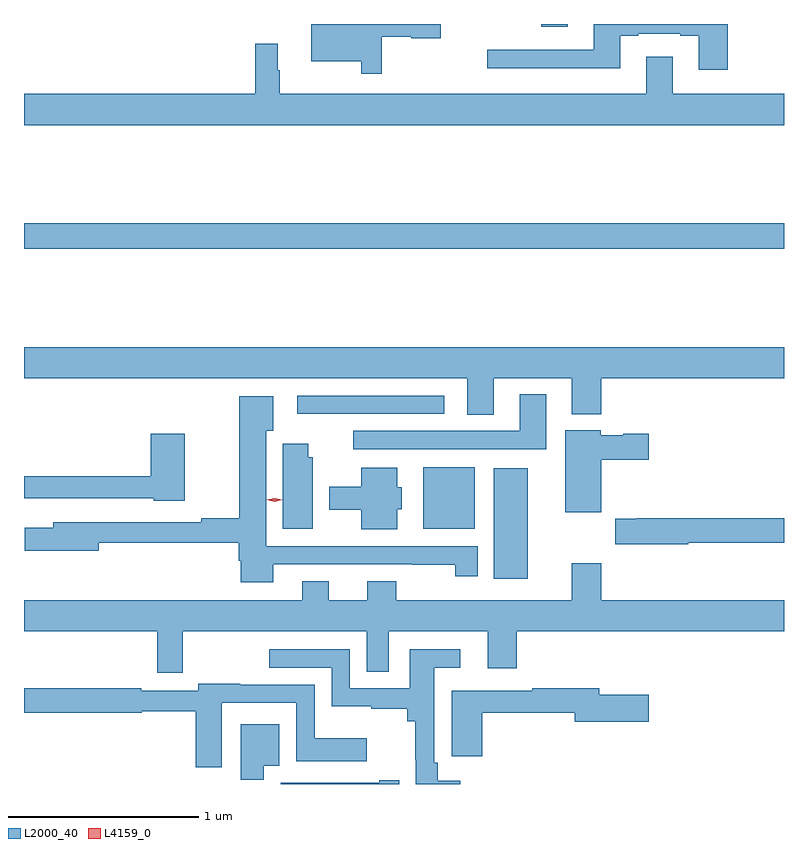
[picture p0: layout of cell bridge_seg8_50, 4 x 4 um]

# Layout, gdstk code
import gdstk
lib = gdstk.Library(unit=1e-6, precision=1e-09)
def R(c, l, rs):  # rectangles x0, y0, x1, y1
    for r in rs: c.add(gdstk.rectangle(r[:2], r[2:], *l))
def P(c, l, *ps):  # polygons
    for p in ps: c.add(gdstk.Polygon(p, *l))
L2000_40 = (2000, 40)
L4159_0 = (4159, 0)

bridge_seg8_50 = lib.new_cell('bridge_seg8_50')
R(bridge_seg8_50, L2000_40, [(1030.94,1114.112,1031.119,1114.693), (1030.568,1114.376,1030.84,1114.699), (1029.906,1114.98,1030.678,1115.076), (1028.467,1115.848,1032.467,1115.984), (1031.189,1117.017,1031.329,1117.032)])
P(bridge_seg8_50, L2000_40, [(1032.17,1117.032),(1031.465,1117.032),(1031.465,1116.897),(1030.905,1116.897),(1030.905,1116.8),(1031.605,1116.8),(1031.605,1116.969),(1031.701,1116.969),(1031.701,1116.981),(1031.921,1116.981),(1031.921,1116.969),(1032.017,1116.969),(1032.017,1116.792),(1032.17,1116.792)],
  [(1030.351,1116.966),(1030.506,1116.966),(1030.506,1116.958),(1030.66,1116.958),(1030.66,1117.032),(1029.98,1117.032),(1029.98,1116.836),(1030.242,1116.836),(1030.242,1116.771),(1030.351,1116.771)],
  [(1032.467,1116.664),(1031.881,1116.664),(1031.881,1116.859),(1031.741,1116.859),(1031.741,1116.664),(1029.814,1116.664),(1029.814,1116.788),(1029.802,1116.788),(1029.802,1116.928),(1029.685,1116.928),(1029.685,1116.664),(1028.467,1116.664),(1028.467,1116.5),(1032.467,1116.5)],
  [(1030.939,1115.168),(1031.351,1115.168),(1031.351,1114.979),(1031.504,1114.979),(1031.504,1115.168),(1032.467,1115.168),(1032.467,1115.332),(1028.467,1115.332),(1028.467,1115.168),(1030.799,1115.168),(1030.799,1114.975),(1030.939,1114.975)],
  [(1031.215,1115.083),(1031.075,1115.083),(1031.075,1114.89),(1030.2,1114.89),(1030.2,1114.794),(1031.215,1114.794)],
  [(1029.778,1114.188),(1030.51,1114.188),(1030.51,1114.187),(1030.738,1114.187),(1030.738,1114.125),(1030.855,1114.125),(1030.855,1114.284),(1029.742,1114.284),(1029.742,1114.892),(1029.778,1114.892),(1029.778,1115.074),(1029.601,1115.074),(1029.601,1114.43),(1029.4,1114.43),(1029.4,1114.41),(1028.621,1114.41),(1028.621,1114.381),(1028.472,1114.381),(1028.472,1114.259),(1028.86,1114.259),(1028.86,1114.302),(1029.596,1114.302),(1029.596,1114.208),(1029.608,1114.208),(1029.608,1114.094),(1029.778,1114.094)],
  [(1031.505,1114.738),(1031.755,1114.738),(1031.755,1114.875),(1031.622,1114.875),(1031.622,1114.867),(1031.502,1114.867),(1031.502,1114.894),(1031.315,1114.894),(1031.315,1114.461),(1031.505,1114.461)],
  [(1029.312,1114.876),(1029.134,1114.876),(1029.134,1114.652),(1028.467,1114.652),(1028.467,1114.535),(1028.484,1114.535),(1028.484,1114.536),(1029.15,1114.536),(1029.15,1114.523),(1029.312,1114.523)],
  [(1029.988,1114.752),(1029.964,1114.752),(1029.964,1114.822),(1029.83,1114.822),(1029.83,1114.376),(1029.988,1114.376)],
  [(1030.432,1114.479),(1030.456,1114.479),(1030.456,1114.593),(1030.432,1114.593),(1030.432,1114.696),(1030.241,1114.696),(1030.241,1114.597),(1030.073,1114.597),(1030.073,1114.475),(1030.241,1114.475),(1030.241,1114.373),(1030.432,1114.373)],
  [(1031.964,1114.302),(1032.467,1114.302),(1032.467,1114.43),(1031.864,1114.43),(1031.864,1114.431),(1031.692,1114.431),(1031.692,1114.429),(1031.58,1114.429),(1031.58,1114.294),(1031.964,1114.294)],
  [(1029.303,1113.836),(1030.271,1113.836),(1030.271,1113.622),(1030.387,1113.622),(1030.387,1113.836),(1030.907,1113.836),(1030.907,1113.642),(1031.06,1113.642),(1031.06,1113.836),(1032.467,1113.836),(1032.467,1114),(1031.504,1114),(1031.504,1114.195),(1031.351,1114.195),(1031.351,1114),(1030.427,1114),(1030.427,1114.099),(1030.274,1114.099),(1030.274,1114),(1030.072,1114),(1030.072,1114.099),(1029.932,1114.099),(1029.932,1114),(1028.467,1114),(1028.467,1113.836),(1029.167,1113.836),(1029.167,1113.618),(1029.303,1113.618)],
  [(1030.762,1113.049),(1030.644,1113.049),(1030.644,1113.145),(1030.626,1113.145),(1030.626,1113.645),(1030.762,1113.645),(1030.762,1113.741),(1030.496,1113.741),(1030.496,1113.537),(1030.182,1113.537),(1030.182,1113.741),(1029.759,1113.741),(1029.759,1113.645),(1030.086,1113.645),(1030.086,1113.44),(1030.295,1113.44),(1030.295,1113.429),(1030.484,1113.429),(1030.484,1113.362),(1030.525,1113.362),(1030.525,1113.159),(1030.53,1113.159),(1030.53,1113.032),(1030.762,1113.032)],
  [(1029.508,1113.459),(1029.9,1113.459),(1029.9,1113.152),(1030.27,1113.152),(1030.27,1113.274),(1029.996,1113.274),(1029.996,1113.555),(1029.604,1113.555),(1029.604,1113.56),(1029.383,1113.56),(1029.383,1113.522),(1029.083,1113.522),(1029.083,1113.535),(1028.467,1113.535),(1028.467,1113.406),(1029.087,1113.406),(1029.087,1113.414),(1029.371,1113.414),(1029.371,1113.12),(1029.508,1113.12)],
  [(1030.88,1113.406),(1031.366,1113.406),(1031.366,1113.359),(1031.755,1113.359),(1031.755,1113.501),(1031.494,1113.501),(1031.494,1113.535),(1031.143,1113.535),(1031.143,1113.522),(1030.718,1113.522),(1030.718,1113.177),(1030.88,1113.177)],
  [(1029.73,1113.128),(1029.811,1113.128),(1029.811,1113.346),(1029.608,1113.346),(1029.608,1113.054),(1029.73,1113.054)],
  [(1030.441,1113.052),(1030.337,1113.052),(1030.337,1113.039),(1029.819,1113.039),(1029.819,1113.032),(1030.441,1113.032)])
P(bridge_seg8_50, L4159_0, [(1029.786,1114.517),(1029.745,1114.527),(1029.745,1114.527),(1029.745,1114.527),(1029.786,1114.537),(1029.826,1114.528),(1029.827,1114.528),(1029.826,1114.527)])

lib.write_gds('bridge_seg8_50.gds')
